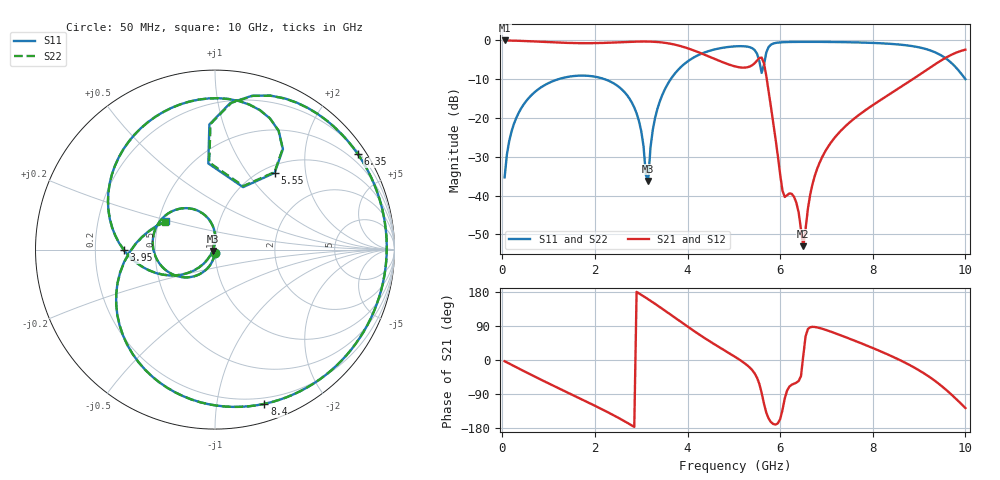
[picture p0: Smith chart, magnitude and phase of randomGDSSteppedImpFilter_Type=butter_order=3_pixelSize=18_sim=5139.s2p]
! freq	dB(S11)	phase(S11)	dB(S12)	phase(S12)
!  dB(S21)	phase(S21)	dB(S22)	phase(S22)
!S-par simulation data
#  GHz  S  DB  R 50
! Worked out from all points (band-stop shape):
!   200 points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, 50 MHz to 10 GHz, reference 50 ohm
!   highest |S21| = -0.01 dB at 50 MHz (marker M1); lowest = -53.1 dB at 6.5 GHz (marker M2)
!   |S21| within 3 dB of the highest: start of sweep to 4.229 GHz; 9.832 GHz to end of sweep
!   lowest |S11| = -36.2 dB at 3.15 GHz (marker M3), VSWR 1.03, Z = 48.7 - j0.726 ohm
!   |S11| at or under -10 dB: start of sweep to 1.21 GHz; 2.21 GHz to 3.637 GHz (1.427 GHz wide, 48.8 % of centre)
!   |S22| runs from -36.1 to -0.4 dB; largest |S21 - S12| = 0
!   S11 on the Smith chart (normalised r, x): 50 MHz: 1.00, -0.03; 3.95 GHz: 0.33, -0.00; 5.55 GHz: 1.12, +1.36; 6.35 GHz: 0.26, +3.28; 8.4 GHz: 0.15, -1.36; 10 GHz: 0.55, +0.19
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0.05  -35.34 -92.9  -0.01 -3.2  -0.01 -3.2  -35.33 -92.9
0.2  -23.45 -102.9  -0.04 -12.7  -0.04 -12.7  -23.45 -102.9
0.5  -15.88 -121.9  -0.16 -31.4  -0.16 -31.4  -15.88 -121.9
1.75  -9.07 163.8  -0.71 -105.8  -0.71 -105.8  -9.07 163.8
2.75  -15.07 102.1  -0.37 -169.4  -0.37 -169.4  -15.07 102.2
3  -23.35 88.8  -0.29 172.2  -0.29 172.2  -23.34 89.1
3.15  -36.22 -151.2  -0.29 160.4  -0.29 160.4  -36.07 -152.4
3.25  -23.04 -127.0  -0.33 152.3  -0.33 152.3  -23.04 -127.4
3.4  -15.76 -134.9  -0.46 139.8  -0.46 139.8  -15.76 -135.1
3.95  -5.89 -179.7  -1.82 92.4  -1.82 92.4  -5.89 -179.8
5.05  -1.51 96.2  -6.77 6.5  -6.77 6.5  -1.51 96.1
5.55  -5.33 52.1  -4.54 -62.8  -4.54 -62.8  -5.28 52.5
5.7  -3.12 92.6  -9.10 -138.6  -9.10 -138.6  -3.09 92.0
6.05  -0.47 52.9  -38.77 -132.1  -38.77 -132.1  -0.46 52.7
6.35  -0.38 33.7  -41.88 -59.8  -41.88 -59.8  -0.38 33.5
6.5  -0.37 25.2  -53.07 12.4  -53.07 12.4  -0.37 25.0
6.7  -0.37 14.3  -36.99 87.5  -36.99 87.5  -0.37 14.2
7.2  -0.41 -11.3  -24.75 70.1  -24.75 70.1  -0.41 -11.5
8.35  -0.85 -69.5  -13.98 13.2  -13.98 13.2  -0.85 -69.6
8.4  -0.89 -72.2  -13.60 10.4  -13.60 10.4  -0.89 -72.3
9.35  -3.08 -136.9  -6.11 -55.7  -6.11 -55.7  -3.08 -136.9
10  -9.98 150.1  -2.38 -126.8  -2.38 -126.8  -9.96 151.0
